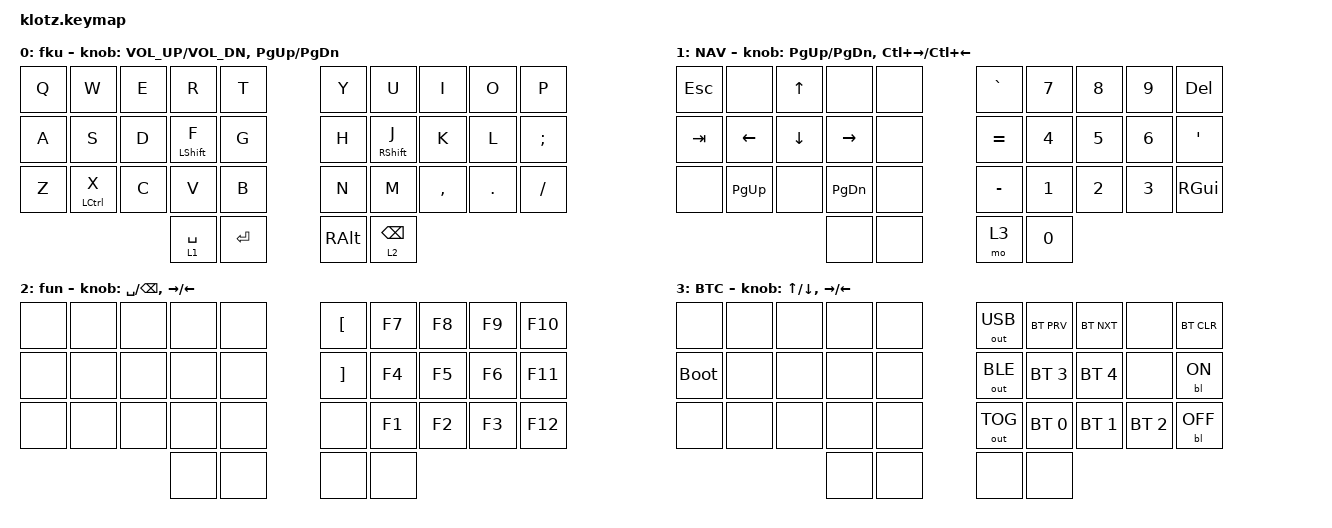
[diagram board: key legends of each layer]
//              █         ██        ▄▀▀▀▀▀▀▀▀▀▀█▀▀▀▀▀▀▀▀█▀▀▀▀▀▀▀▀▀▀█
//              █        █ █      ▄▀            ▀▄      █         █
//              █       █  █    ▄▀                ▀▄    █        █
//              █      █   █   █                    █   █       █
//              █     █    █   █                    █   █      █
//              █    █     █   █                    █   █  ▀▀▀█▀▀▀▀
//              █   █ █    █   █                    █   █    █
//              █  █   █   █   █                    █   █   █
//              █ █     █  █    ▀▄                ▄▀    █  █
//              ██       █ █      ▀▄            ▄▀      █ █
//              █         ██▄▄▄▄▄▄▄▄█▄▄▄▄▄▄▄▄▄▄▀        ██▄▄▄▄▄▄▄▄▄▄
//
//▄▄▄▄▄▄▄▄▄▄▄▄▄▄▄▄▄▄▄▄▄▄▄▄▄▄▄▄▄▄▄▄▄▄▄▄▄▄▄▄▄▄▄▄▄▄▄▄▄▄▄▄▄▄▄▄▄▄▄▄▄▄▄▄▄▄▄▄▄▄▄▄▄▄▄▄▄▄▄

#include "base_5x3T2.h"
#include <behaviors.dtsi>
#include <dt-bindings/zmk/backlight.h>
#include <dt-bindings/zmk/bt.h>
#include <dt-bindings/zmk/keys.h>
#include <dt-bindings/zmk/outputs.h>

// KLOTZ key numbers
//  ___________________________________       ___________________________________
// |  0  |  1  |  2  |  3  |  4  |     |     |     |    5 |   6 |   7 |   8 |  9  |
// | 10  | 11  | 12  | 13  | 14  |     |     |     |   15 |  16 |  17 |  18 | 19  |
// | 20  | 21  | 22  | 23  | 24  | ROT |     | ROT |   25 |  26 |  27 |  28 | 29  |
// |                         30  | 31  |     |  32 |  33                         |
//  -----------------------------------       -----------------------------------

/ {
    keymap {
        compatible = "zmk,keymap";

        qwerty {
            label = "fku";
            bindings = <
&kp Q  &kp W        &kp E  &kp R        &kp T      &kp Y     &kp U            &kp I      &kp O    &kp P
&kp A  &kp S        &kp D  &mt LSHFT F  &kp G      &kp H     &mt RSHFT J      &kp K      &kp L    &kp SEMI
&kp Z  &mt LCTRL X  &kp C  &kp V        &kp B      &kp N     &kp M            &kp COMMA  &kp DOT  &kp FSLH
                           &lt 1 SPACE  &kp ENTER  &kp RALT  &lt 2 BACKSPACE
            >;

            sensor-bindings =
                <&inc_dec_kp C_VOL_UP C_VOL_DN>,
                <&inc_dec_kp PG_UP PAGE_DOWN>;
        };

        navigation {
            label = "NAV";
            bindings = <
&kp ESC  &none      &kp UP    &none      &none  &kp GRAVE  &kp N7  &kp N8  &kp N9  &kp DELETE
&kp TAB  &kp LEFT   &kp DOWN  &kp RIGHT  &none  &kp EQUAL  &kp N4  &kp N5  &kp N6  &kp APOS
&none    &kp PG_UP  &none     &kp PG_DN  &none  &kp MINUS  &kp N1  &kp N2  &kp N3  &kp RGUI
                              &none      &none  &mo 3      &kp N0
            >;

            sensor-bindings = <&inc_dec_kp PG_UP PG_DN  &inc_dec_kp LC(RIGHT) LC(LEFT)>;
        };

        function {
            label = "fun";
            bindings = <
&none  &none  &none  &none  &none  &kp LBKT  &kp F7  &kp F8  &kp F9  &kp F10
&none  &none  &none  &none  &none  &kp RBKT  &kp F4  &kp F5  &kp F6  &kp F11
&none  &none  &none  &none  &none  &none     &kp F1  &kp F2  &kp F3  &kp F12
                     &none  &none  &none     &none
            >;

            sensor-bindings = <&inc_dec_kp SPACE BSPC  &inc_dec_kp RIGHT LEFT>;
        };

        bluetooth {
            label = "BTC";
            bindings = <
&none        &none  &none  &none  &none  &out OUT_USB  &bt BT_PRV    &bt BT_NXT    &none         &bt BT_CLR
&bootloader  &none  &none  &none  &none  &out OUT_BLE  &bt BT_SEL 3  &bt BT_SEL 4  &none         &bl BL_ON
&none        &none  &none  &none  &none  &out OUT_TOG  &bt BT_SEL 0  &bt BT_SEL 1  &bt BT_SEL 2  &bl BL_OFF
                           &none  &none  &none         &none
            >;

            sensor-bindings = <&inc_dec_kp UP DOWN  &inc_dec_kp RIGHT LEFT>;
        };
    };
};

//  ___________________________________       ___________________________________
// |  0  |  1  |  2  |  3  |  4  |     |     |     |    5 |   6 |   7 |   8 |  9  |
// | 10  | 11  | 12  | 13  | 14  |     |     |     |   15 |  16 |  17 |  18 | 19  |
// | 20  | 21  | 22  | 23  | 24  | ROT |     | ROT |   25 |  26 |  27 |  28 | 29  |
// |                         30  | 31  |     |  32 |  33                         |
//  -----------------------------------       -----------------------------------
